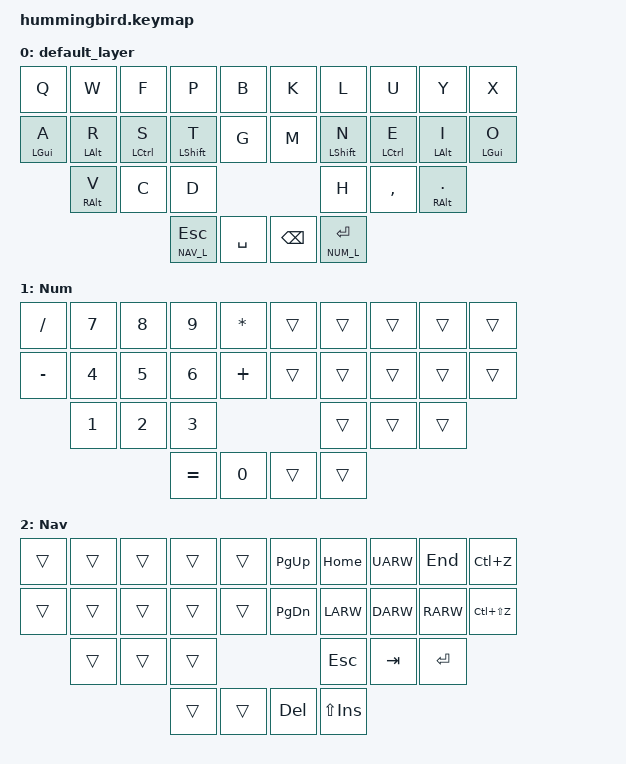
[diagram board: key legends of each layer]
/*
 * Copyright (c) 2020 The ZMK Contributors
 *
 * SPDX-License-Identifier: MIT
 */

#include <behaviors.dtsi>
#include <dt-bindings/zmk/keys.h>

#define DEF_L 0
#define NUM_L 1
#define NAV_L 2

&lt { quick_tap_ms = <0>; };

/ {
    behaviors {
        hm: homerow_mods {
            compatible = "zmk,behavior-hold-tap";
            label = "homerow mods";
            #binding-cells = <2>;
            tapping_term_ms = <220>;
            quick_tap_ms = <180>;
            flavor = "tap-preferred";
            bindings = <&kp>, <&kp>;
        };
        f111: f_one_eleven {
            compatible = "zmk,behavior-mod-morph";
            label = "F1 F11";
            #binding-cells = <0>;
            bindings = <&kp F1>, <&kp F11>;
            mods = <(MOD_RALT)>;
        };
        f212: f_two_twelve {
            compatible = "zmk,behavior-mod-morph";
            label = "F2 F12";
            #binding-cells = <0>;
            bindings = <&kp F2>, <&kp F12>;
            mods = <(MOD_RALT)>;
        };
        f313: f_three_thirteen {
            compatible = "zmk,behavior-mod-morph";
            label = "F3 F13";
            #binding-cells = <0>;
            bindings = <&kp F3>, <&kp F13>;
            mods = <(MOD_RALT)>;
        };
        f414: f_four_fourteen {
            compatible = "zmk,behavior-mod-morph";
            label = "F4 F14";
            #binding-cells = <0>;
            bindings = <&kp F4>, <&kp F14>;
            mods = <(MOD_RALT)>;
        };
        f515: f_five_fifteen {
            compatible = "zmk,behavior-mod-morph";
            label = "F5 F15";
            #binding-cells = <0>;
            bindings = <&kp F5>, <&kp F15>;
            mods = <(MOD_RALT)>;
        };
        f616: f_six_sixteen {
            compatible = "zmk,behavior-mod-morph";
            label = "F6 F16";
            #binding-cells = <0>;
            bindings = <&kp F6>, <&kp F16>;
            mods = <(MOD_RALT)>;
        };
        f717: f_seven_seventeen {
            compatible = "zmk,behavior-mod-morph";
            label = "F7 F17";
            #binding-cells = <0>;
            bindings = <&kp F7>, <&kp F17>;
            mods = <(MOD_RALT)>;
        };
        f818: f_eight_eighteen {
            compatible = "zmk,behavior-mod-morph";
            label = "F8 F18";
            #binding-cells = <0>;
            bindings = <&kp F8>, <&kp F18>;
            mods = <(MOD_RALT)>;
        };
        f919: f_nine_nineteen {
            compatible = "zmk,behavior-mod-morph";
            label = "F9 F19";
            #binding-cells = <0>;
            bindings = <&kp F9>, <&kp F19>;
            mods = <(MOD_RALT)>;
        };
        f1020: f_ten_twenty {
            compatible = "zmk,behavior-mod-morph";
            label = "F10 F20";
            #binding-cells = <0>;
            bindings = <&kp F10>, <&kp F20>;
            mods = <(MOD_RALT)>;
        };
    };

    combos {
        compatible = "zmk,combos";
        combo_tab {
            timeout-ms = <35>;
            key-positions = <26 27>;
            bindings = <&kp TAB>;
        };
        combo_delete {
            timeout-ms = <35>;
            key-positions = <28 29>;
            bindings = <&kp DEL>;
        };
        combo_minus {
            timeout-ms = <35>;
            key-positions = <0 10>;
            layers = <0>;
            bindings = <&kp MINUS>;
        };
        combo_z {
            timeout-ms = <35>;
            key-positions = <4 14>;
            layers = <0>;
            bindings = <&kp Z>;
        };
        combo_j {
            timeout-ms = <35>;
            key-positions = <5 15>;
            layers = <0>;
            bindings = <&kp J>;
        };
        combo_equal {
            timeout-ms = <35>;
            key-positions = <9 19>;
            layers = <0>;
            bindings = <&kp EQUAL>;
        };
        combo_left_brace {
            timeout-ms = <35>;
            key-positions = <1 2>;
            bindings = <&kp LBRC>;
        };
        combo_right_brace {
            timeout-ms = <35>;
            key-positions = <2 3>;
            bindings = <&kp RBRC>;
        };
        combo_left_parenthesis {
            timeout-ms = <35>;
            key-positions = <11 12>;
            bindings = <&kp LPAR>;
        };
        combo_right_parenthesis {
            timeout-ms = <35>;
            key-positions = <12 13>;
            bindings = <&kp RPAR>;
        };
        combo_left_bracket {
            timeout-ms = <35>;
            key-positions = <20 21>;
            bindings = <&kp LBKT>;
        };
        combo_right_bracket {
            timeout-ms = <35>;
            key-positions = <21 22>;
            bindings = <&kp RBKT>;
        };
        combo_grave {
            timeout-ms = <35>;
            key-positions = <6 7>;
            bindings = <&kp GRAVE>;
        };
        combo_backslash {
            timeout-ms = <35>;
            key-positions = <7 8>;
            bindings = <&kp BSLH>;
        };
        combo_semicolon {
            timeout-ms = <35>;
            key-positions = <16 17>;
            bindings = <&kp SEMI>;
        };
        combo_colon {
            timeout-ms = <35>;
            key-positions = <17 18>;
            bindings = <&kp COLON>;
        };
        combo_apostrophe {
            timeout-ms = <35>;
            key-positions = <23 24>;
            bindings = <&kp APOS>;
        };
        combo_forward_slash {
            timeout-ms = <35>;
            key-positions = <24 25>;
            bindings = <&kp SLASH>;
        };
        combo_f_one {
            timeout-ms = <35>;
            key-positions = <0 10>;
            layers = <1>;
            bindings = <&f111>;
        };
        combo_f_two {
            timeout-ms = <35>;
            key-positions = <1 11>;
            layers = <1>;
            bindings = <&f212>;
        };
        combo_f_three {
            timeout-ms = <35>;
            key-positions = <2 12>;
            layers = <1>;
            bindings = <&f313>;
        };
        combo_f_four {
            timeout-ms = <35>;
            key-positions = <3 13>;
            layers = <1>;
            bindings = <&f414>;
        };
        combo_f_five {
            timeout-ms = <35>;
            key-positions = <4 14>;
            layers = <1>;
            bindings = <&f515>;
        };
        combo_f_six {
            timeout-ms = <35>;
            key-positions = <5 15>;
            layers = <2>;
            bindings = <&f616>;
        };
        combo_f_seven {
            timeout-ms = <35>;
            key-positions = <6 16>;
            layers = <2>;
            bindings = <&f717>;
        };
        combo_f_eight {
            timeout-ms = <35>;
            key-positions = <7 17>;
            layers = <2>;
            bindings = <&f818>;
        };
        combo_f_nine {
            timeout-ms = <35>;
            key-positions = <8 18>;
            layers = <2>;
            bindings = <&f919>;
        };
        combo_f_ten {
            timeout-ms = <35>;
            key-positions = <9 19>;
            layers = <2>;
            bindings = <&f1020>;
        };
        combo_mute {
            timeout-ms = <35>;
            key-positions = <11 20>;
            layers = <1>;
            bindings = <&kp C_MUTE>;
        };
        combo_vol_down {
            timeout-ms = <35>;
            key-positions = <12 21>;
            layers = <1>;
            bindings = <&kp C_VOLUME_DOWN>;
        };
        combo_vol_up {
            timeout-ms = <35>;
            key-positions = <13 22>;
            layers = <1>;
            bindings = <&kp C_VOLUME_UP>;
        };
        combo_media_play_pause {
            timeout-ms = <35>;
            key-positions = <16 23>;
            layers = <2>;
            bindings = <&kp C_PLAY_PAUSE>;
        };
        combo_media_prev {
            timeout-ms = <35>;
            key-positions = <17 24>;
            layers = <2>;
            bindings = <&kp C_PREV>;
        };
        combo_media_next {
            timeout-ms = <35>;
            key-positions = <18 25>;
            layers = <2>;
            bindings = <&kp C_NEXT>;
        };
        combo_ctl_sft_tab {
            timeout-ms = <35>;
            key-positions = <1 2 3>;
            bindings = <&kp LC(LS(TAB))>;
        };
        combo_alt_sft_tab {
            timeout-ms = <35>;
            key-positions = <11 12 13>;
            bindings = <&kp LA(LS(TAB))>;
        };
        combo_gui_sft_tab {
            timeout-ms = <35>;
            key-positions = <20 21 22>;
            bindings = <&kp LG(LS(TAB))>;
        };
        combo_ctl_tab {
            timeout-ms = <35>;
            key-positions = <6 7 8>;
            bindings = <&kp LC(TAB)>;
        };
        combo_alt_tab {
            timeout-ms = <35>;
            key-positions = <16 17 18>;
            bindings = <&kp LA(TAB)>;
        };
        combo_gui_tab {
            timeout-ms = <35>;
            key-positions = <23 24 25>;
            bindings = <&kp LG(TAB)>;
        };
        combo_sft_sft {
            timeout-ms = <35>;
            key-positions = <13 16>;
            bindings = <&kp LS(RSHIFT)>;
        };
        combo_ctl_ctl {
            timeout-ms = <35>;
            key-positions = <12 17>;
            bindings = <&kp LC(RCTRL)>;
        };
        combo_alt_alt {
            timeout-ms = <35>;
            key-positions = <11 18>;
            bindings = <&kp LA(RALT)>;
        };
        combo_gui_gui {
            timeout-ms = <35>;
            key-positions = <10 19>;
            bindings = <&kp LG(RGUI)>;
        };
        combo_printscreen {
            timeout-ms = <35>;
            key-positions = <27 28>;
            bindings = <&kp PSCRN>;
        };
        combo_bootloader {
            timeout-ms = <35>;
            key-positions = <0 9>;
            bindings = <&bootloader>;
        };
    };
};

/ {
    keymap {
        compatible = "zmk,keymap";

        default_layer {
            bindings = <
                &kp Q       &kp W       &kp F       &kp P       &kp B           &kp K       &kp L       &kp U       &kp Y       &kp X
                &hm LGUI A  &hm LALT R  &hm LCTRL S &hm LSHFT T &kp G           &kp M       &hm LSHFT N &hm LCTRL E &hm LALT I  &hm LGUI O
                            &hm RALT V  &kp C       &kp D                                   &kp H       &kp COMMA   &hm RALT DOT
                                                  &lt NAV_L ESC &kp SPACE       &kp BSPC    &lt NUM_L RET
            >;
        };

        num_layer {
            label = "Num";
            bindings = <
                &kp SLASH   &kp N7      &kp N8      &kp N9      &kp ASTRK       &trans      &trans      &trans      &trans     &trans
                &kp MINUS   &kp N4      &kp N5      &kp N6      &kp PLUS        &trans      &trans      &trans      &trans     &trans
                            &kp N1      &kp N2      &kp N3                                  &trans      &trans      &trans
                                                    &kp EQUAL   &kp N0          &trans      &trans
            >;
        };

        nav_layer {
            label = "Nav";
            bindings = <
                &trans      &trans      &trans      &trans      &trans          &kp PG_UP   &kp HOME    &kp UARW    &kp END    &kp LC(Z)
                &trans      &trans      &trans      &trans      &trans          &kp PG_DN   &kp LARW    &kp DARW    &kp RARW   &kp LC(LS(Z))
                            &trans      &trans      &trans                                  &kp ESC     &kp TAB     &kp RET
                                                    &trans      &trans          &kp DEL     &kp LS(INS)
            >;
        };

    };
};
